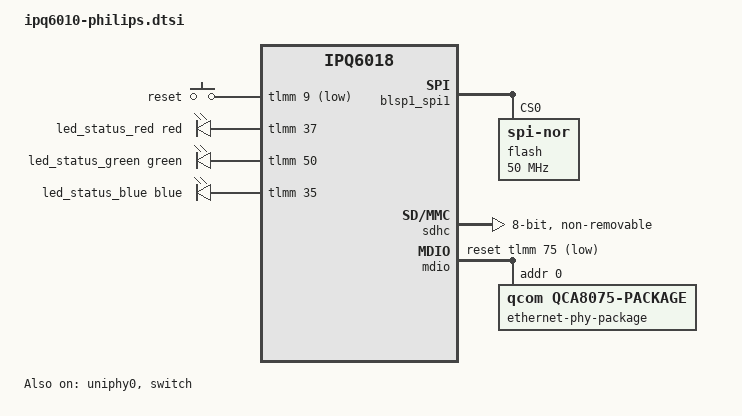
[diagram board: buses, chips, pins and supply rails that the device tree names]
// SPDX-License-Identifier: GPL-2.0-or-later OR MIT

#include "ipq6018.dtsi"
#include "ipq6018-ess.dtsi"
#include "ipq6018-nss.dtsi"
#include "ipq6018-common.dtsi"

#include <dt-bindings/gpio/gpio.h>
#include <dt-bindings/input/input.h>
#include <dt-bindings/leds/common.h>

/ {
	aliases {
		ethernet1 = &swport2;
		ethernet2 = &swport3;
		ethernet3 = &swport4;
		ethernet4 = &swport5;

		serial0 = &blsp1_uart3;

		led-boot = &led_status_blue;
		led-failsafe = &led_status_red;
		led-running = &led_status_green;
		led-upgrade = &led_status_red;
	};

	chosen {
		stdout-path = "serial0:115200n8";
	};

	keys {
		compatible = "gpio-keys";

		reset {
			label = "reset";
			linux,code = <KEY_RESTART>;
			gpios = <&tlmm 9 GPIO_ACTIVE_LOW>;
		};
	};

	leds {
		compatible = "gpio-leds";

		led_status_red: status-red {
			color = <LED_COLOR_ID_RED>;
			function = LED_FUNCTION_STATUS;
			gpios = <&tlmm 37 GPIO_ACTIVE_HIGH>;
		};

		led_status_green: status-green {
			color = <LED_COLOR_ID_GREEN>;
			function = LED_FUNCTION_STATUS;
			gpios = <&tlmm 50 GPIO_ACTIVE_HIGH>;
		};

		led_status_blue: status-blue {
			color = <LED_COLOR_ID_BLUE>;
			function = LED_FUNCTION_STATUS;
			gpios = <&tlmm 35 GPIO_ACTIVE_HIGH>;
		};
	};
};

&blsp1_spi1 {
	status = "okay";

	flash@0 {
		compatible = "jedec,spi-nor";
		spi-max-frequency = <50000000>;
		reg = <0>;

		partitions {
			compatible = "qcom,smem-part";
			qcom,smem-flash-id = <0>;
		};
	};
};

&sdhc {
	status = "okay";

	bus-width = <8>;
	mmc-ddr-1_8v;
	mmc-hs200-1_8v;
	non-removable;
};

&mdio {
	status = "okay";

	pinctrl-0 = <&mdio_pins>;
	pinctrl-names = "default";
	reset-gpios = <&tlmm 75 GPIO_ACTIVE_LOW>;

	ethernet-phy-package@0 {
		compatible = "qcom,qca8075-package";
		qcom,package-mode = "psgmii";
		#address-cells = <1>;
		#size-cells = <0>;
		reg = <0>;

		qca8075_1: ethernet-phy@1 {
			compatible = "ethernet-phy-ieee802.3-c22";
			reg = <1>;
		};

		qca8075_2: ethernet-phy@2 {
			compatible = "ethernet-phy-ieee802.3-c22";
			reg = <2>;
		};

		qca8075_3: ethernet-phy@3 {
			compatible = "ethernet-phy-ieee802.3-c22";
			reg = <3>;
		};

		qca8075_4: ethernet-phy@4 {
			compatible = "ethernet-phy-ieee802.3-c22";
			reg = <4>;
		};
	};
};

&uniphy0 {
	status = "okay";
};

&switch {
	status = "okay";

	ports {
		#address-cells = <1>;
		#size-cells = <0>;

		port@0 {
			reg = <0>;
			ethernet = <&edma>;
			phy-mode = "internal";

			fixed-link {
				speed = <1000>;
				full-duplex;
			};
		};

		swport2: port@2 {
			reg = <2>;
			label = "lan1";
			phy-handle = <&qca8075_1>;
			phy-mode = "psgmii";
			pcs-handle = <&uniphy0 1>;
		};

		swport3: port@3 {
			reg = <3>;
			label = "lan2";
			phy-handle = <&qca8075_2>;
			phy-mode = "psgmii";
			pcs-handle = <&uniphy0 2>;
		};

		swport4: port@4 {
			reg = <4>;
			label = "lan3";
			phy-handle = <&qca8075_3>;
			phy-mode = "psgmii";
			pcs-handle = <&uniphy0 3>;
		};

		swport5: port@5 {
			reg = <5>;
			label = "wan";
			phy-handle = <&qca8075_4>;
			phy-mode = "psgmii";
			pcs-handle = <&uniphy0 4>;
		};
	};
};

&edma {
	status = "okay";
};
